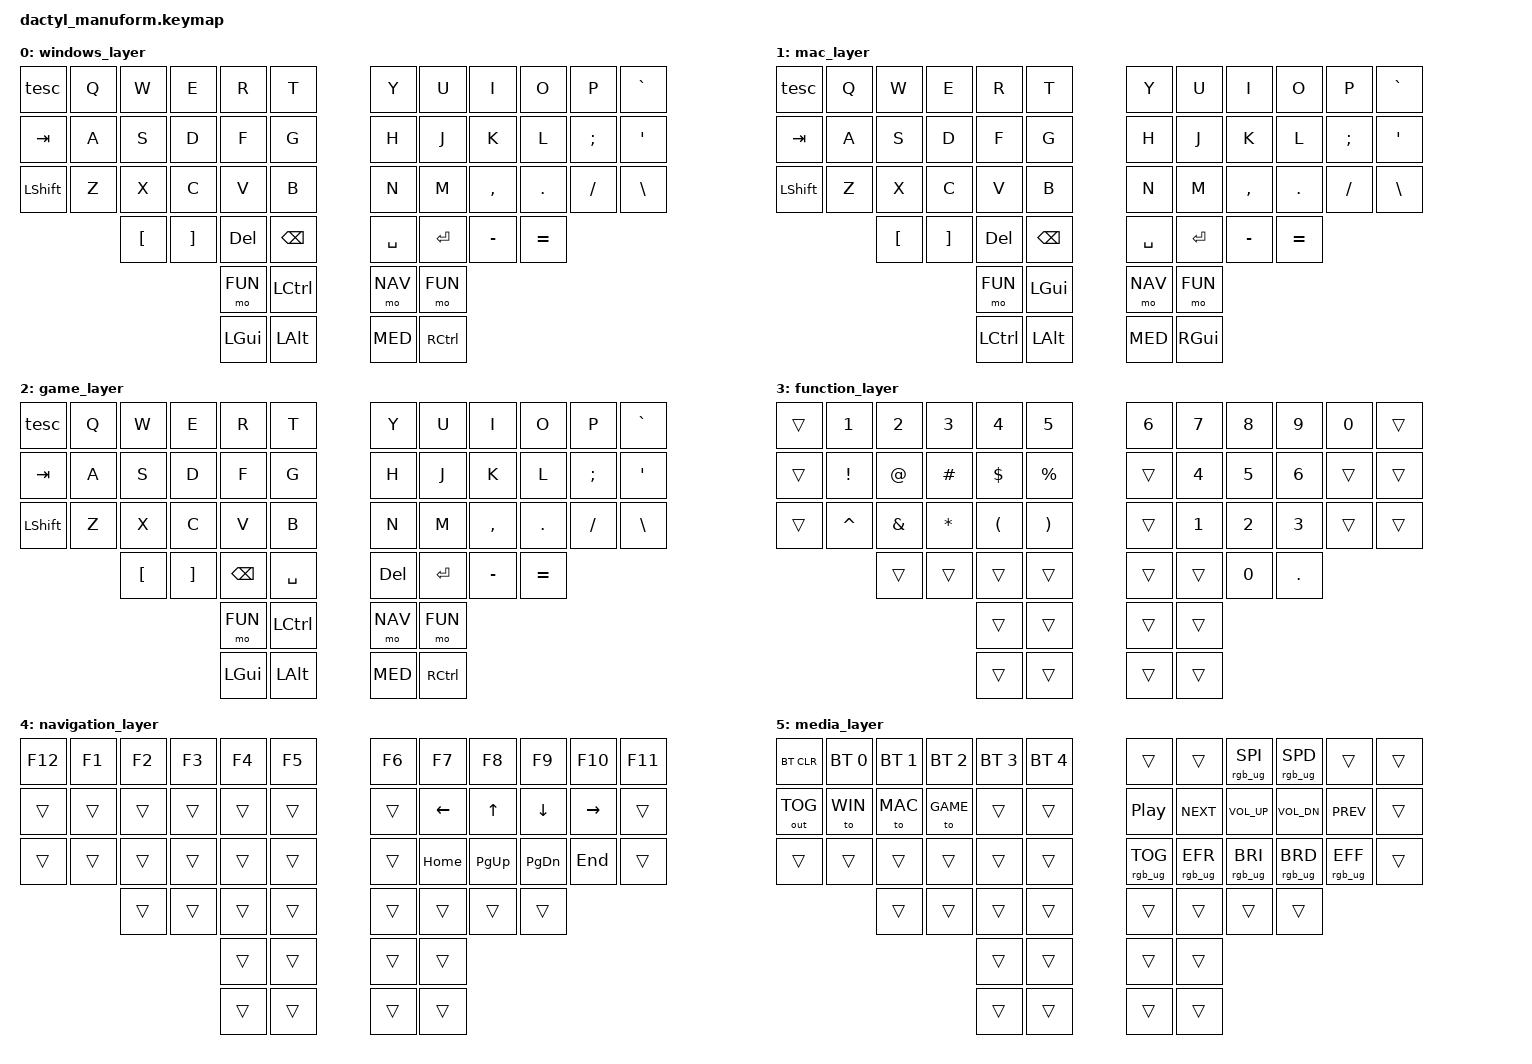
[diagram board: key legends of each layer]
/*
 * Copyright (c) 2020 The ZMK Contributors
 *
 * SPDX-License-Identifier: MIT
 */

#include <behaviors.dtsi>
#include <dt-bindings/zmk/bt.h>
#include <dt-bindings/zmk/ext_power.h>
#include <dt-bindings/zmk/keys.h>
#include <dt-bindings/zmk/rgb.h>
#include <dt-bindings/zmk/outputs.h>

#define WIN 0
#define MAC 1
#define GAME 2
#define FUN 3
#define NAV 4
#define MED 5

/ {

    behaviors {
        tesc: tilde_escape {
            compatible = "zmk,behavior-mod-morph";
            label = "TILDE_ESCAPE";
            #binding-cells = <0>;
            bindings = <&kp ESC>, <&kp TILDE>;
            mods = <(MOD_LSFT|MOD_RSFT)>;
        };
    };

    keymap {
        compatible = "zmk,keymap";

        windows_layer {
            bindings = <
                &tesc     &kp Q  &kp W    &kp E    &kp R    &kp T               &kp Y     &kp U   &kp I     &kp O   &kp P    &kp GRAVE
                &kp TAB   &kp A  &kp S    &kp D    &kp F    &kp G               &kp H     &kp J   &kp K     &kp L   &kp SEMI &kp SQT
                &kp LSHFT &kp Z  &kp X    &kp C    &kp V    &kp B               &kp N     &kp M   &kp COMMA &kp DOT &kp FSLH &kp BSLH
                                 &kp LBKT &kp RBKT &kp DEL  &kp BSPC            &kp SPACE &kp RET &kp MINUS &kp EQUAL
                                                   &mo FUN  &kp LCTRL           &mo NAV   &mo FUN
                                                   &kp LGUI &kp LALT            &kp MED   &kp RCTRL
            >;
        };

        mac_layer {
            bindings = <
                &tesc     &kp Q  &kp W    &kp E    &kp R    &kp T               &kp Y     &kp U   &kp I     &kp O   &kp P    &kp GRAVE
                &kp TAB   &kp A  &kp S    &kp D    &kp F    &kp G               &kp H     &kp J   &kp K     &kp L   &kp SEMI &kp SQT
                &kp LSHFT &kp Z  &kp X    &kp C    &kp V    &kp B               &kp N     &kp M   &kp COMMA &kp DOT &kp FSLH &kp BSLH
                                 &kp LBKT &kp RBKT &kp DEL  &kp BSPC            &kp SPACE &kp RET &kp MINUS &kp EQUAL
                                                   &mo FUN  &kp LGUI            &mo NAV   &mo FUN
                                                   &kp LCTRL &kp LALT           &kp MED   &kp RGUI
            >;
        };

        game_layer {
            bindings = <
                &tesc     &kp Q  &kp W    &kp E    &kp R    &kp T               &kp Y     &kp U   &kp I     &kp O   &kp P    &kp GRAVE
                &kp TAB   &kp A  &kp S    &kp D    &kp F    &kp G               &kp H     &kp J   &kp K     &kp L   &kp SEMI &kp SQT
                &kp LSHFT &kp Z  &kp X    &kp C    &kp V    &kp B               &kp N     &kp M   &kp COMMA &kp DOT &kp FSLH &kp BSLH
                                 &kp LBKT &kp RBKT &kp BSPC &kp SPACE           &kp DEL   &kp RET &kp MINUS &kp EQUAL
                                                   &mo FUN  &kp LCTRL           &mo NAV   &mo FUN
                                                   &kp LGUI &kp LALT            &kp MED   &kp RCTRL
            >;
        };

        function_layer {
            bindings = <
                &trans &kp N1    &kp N2   &kp N3   &kp N4   &kp N5              &kp N6    &kp N7  &kp N8    &kp N9  &kp N0   &trans
                &trans &kp EXCL  &kp AT   &kp HASH &kp DLLR &kp PRCNT           &trans    &kp N4  &kp N5    &kp N6  &trans   &trans
                &trans &kp CARET &kp AMPS &kp STAR &kp LPAR &kp RPAR            &trans    &kp N1  &kp N2    &kp N3  &trans   &trans
                                 &trans   &trans   &trans   &trans              &trans    &trans  &kp N0    &kp DOT
                                                   &trans   &trans              &trans    &trans
                                                   &trans   &trans              &trans    &trans
            >;
        };

        navigation_layer {
            bindings = <
                &kp F12  &kp F1 &kp F2 &kp F3 &kp F4 &kp F5               &kp F6 &kp F7   &kp F8    &kp F9    &kp F10   &kp F11
                &trans  &trans &trans &trans &trans  &trans               &trans &kp LEFT &kp UP    &kp DOWN  &kp RIGHT &trans
                &trans  &trans &trans &trans &trans  &trans               &trans &kp HOME &kp PG_UP &kp PG_DN &kp END   &trans
                               &trans &trans &trans  &trans               &trans &trans   &trans    &trans
                                             &trans  &trans               &trans &trans
                                             &trans  &trans               &trans &trans
            >;
        };

        media_layer {
            bindings = <
                &bt BT_CLR    &bt BT_SEL 0 &bt BT_SEL 1 &bt BT_SEL 2 &bt BT_SEL 3  &bt BT_SEL 4               &trans          &trans           &rgb_ug RGB_SPI  &rgb_ug RGB_SPD &trans           &trans
                &out OUT_TOG  &to WIN &to MAC &to GAME &trans  &trans                                         &kp C_PP        &kp C_NEXT       &kp C_VOL_UP     &kp C_VOL_DN    &kp C_PREV       &trans
                &trans        &trans &trans &trans &trans  &trans                                             &rgb_ug RGB_TOG &rgb_ug RGB_EFR  &rgb_ug RGB_BRI  &rgb_ug RGB_BRD &rgb_ug RGB_EFF  &trans
                                     &trans &trans &trans  &trans               &trans &trans &trans &trans
                                                   &trans  &trans               &trans &trans
                                                   &trans  &trans               &trans &trans
            >;
        };
    };
};
